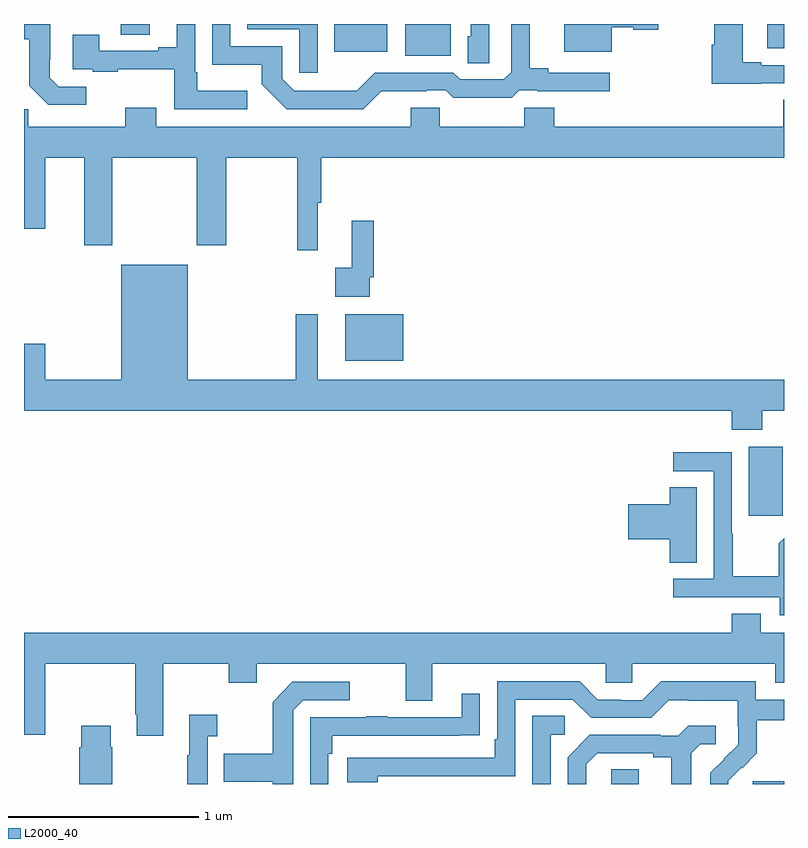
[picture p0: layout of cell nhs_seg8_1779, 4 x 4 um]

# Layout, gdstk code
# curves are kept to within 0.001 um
import gdstk
lib = gdstk.Library(unit=1e-6, precision=1e-09)
def R(c, l, rs):  # rectangles x0, y0, x1, y1
    for r in rs: c.add(gdstk.rectangle(r[:2], r[2:], *l))
def P(c, l, *ps):  # polygons
    for p in ps: c.add(gdstk.Polygon(p, *l))
L2000_40 = (2000, 40)

nhs_seg8_1779 = lib.new_cell('nhs_seg8_1779')
R(nhs_seg8_1779, L2000_40, [(228.09,1083.9,228.235,1083.977), (228.836,1083.9,229,1083.915), (228.815,1085.313,228.994,1085.674), (226.691,1086.128,226.996,1086.373), (227.006,1087.733,227.245,1087.9), (226.634,1087.754,226.912,1087.9), (225.509,1087.843,225.661,1087.9)])
P(nhs_seg8_1779, L2000_40, [(228.88,1087.587),(229,1087.587),(229,1087.683),(228.88,1087.683),(228.88,1087.699),(228.784,1087.699),(228.784,1087.9),(228.632,1087.9),(228.632,1087.79),(228.62,1087.79),(228.62,1087.585),(228.88,1087.585)],
  [(228.094,1087.883),(228.207,1087.883),(228.207,1087.871),(228.337,1087.871),(228.337,1087.9),(227.843,1087.9),(227.843,1087.754),(228.094,1087.754)],
  [(226.545,1087.9),(226.176,1087.9),(226.176,1087.872),(226.449,1087.872),(226.449,1087.644),(226.545,1087.644)],
  [(227.448,1087.9),(227.352,1087.9),(227.352,1087.836),(227.336,1087.836),(227.336,1087.693),(227.448,1087.693)],
  [(226.174,1087.549),(225.913,1087.549),(225.913,1087.645),(225.9,1087.645),(225.9,1087.9),(225.803,1087.9),(225.803,1087.777),(225.707,1087.777),(225.707,1087.758),(225.397,1087.758),(225.397,1087.843),(225.257,1087.843),(225.257,1087.662),(225.361,1087.662),(225.361,1087.65),(225.493,1087.65),(225.493,1087.661),(225.792,1087.661),(225.792,1087.452),(226.174,1087.452)],
  [(229,1087.9),(228.912,1087.9),(228.912,1087.876),(228.913,1087.876),(228.913,1087.773),(229,1087.773)],
  [(225.328,1087.569),(225.183,1087.569),(225.136,1087.616),(225.136,1087.711),(225.138,1087.711),(225.138,1087.9),(225,1087.9),(225,1087.821),(225.027,1087.821),(225.027,1087.575),(225.127,1087.475),(225.328,1087.475)],
  [(226.88,1087.547),(227.12,1087.547),(227.12,1087.551),(227.22,1087.551),(227.26,1087.512),(227.567,1087.512),(227.607,1087.551),(227.701,1087.551),(227.701,1087.547),(228.082,1087.547),(228.082,1087.644),(227.758,1087.644),(227.758,1087.667),(227.663,1087.667),(227.663,1087.9),(227.565,1087.9),(227.565,1087.647),(227.526,1087.608),(227.295,1087.608),(227.259,1087.644),(226.845,1087.644),(226.751,1087.55),(226.646,1087.55),(226.646,1087.548),(226.422,1087.548),(226.359,1087.611),(226.359,1087.782),(226.086,1087.782),(226.086,1087.9),(225.99,1087.9),(225.99,1087.685),(226.252,1087.685),(226.252,1087.583),(226.382,1087.452),(226.785,1087.452)],
  [(226.547,1086.96),(226.565,1086.96),(226.565,1087.196),(229,1087.196),(229,1087.502),(228.995,1087.502),(228.995,1087.36),(227.792,1087.36),(227.792,1087.458),(227.632,1087.458),(227.632,1087.36),(227.187,1087.36),(227.187,1087.458),(227.036,1087.458),(227.036,1087.36),(225.697,1087.36),(225.697,1087.459),(225.533,1087.459),(225.533,1087.36),(225.023,1087.36),(225.023,1087.451),(225,1087.451),(225,1086.822),(225.112,1086.822),(225.112,1087.196),(225.317,1087.196),(225.317,1086.735),(225.465,1086.735),(225.465,1087.196),(225.91,1087.196),(225.91,1086.735),(226.065,1086.735),(226.065,1087.196),(226.437,1087.196),(226.437,1086.708),(226.547,1086.708)],
  [(226.821,1086.568),(226.841,1086.568),(226.841,1086.865),(226.724,1086.865),(226.724,1086.617),(226.638,1086.617),(226.638,1086.464),(226.821,1086.464)],
  [(228.885,1085.864),(229,1085.864),(229,1086.028),(226.546,1086.028),(226.546,1086.373),(226.429,1086.373),(226.429,1086.028),(225.862,1086.028),(225.862,1086.634),(225.512,1086.634),(225.512,1086.028),(225.112,1086.028),(225.112,1086.217),(225,1086.217),(225,1085.864),(228.725,1085.864),(228.725,1085.765),(228.885,1085.765)],
  [(229,1085.194),(228.973,1085.167),(228.973,1084.993),(228.729,1084.993),(228.729,1085.216),(228.726,1085.216),(228.726,1085.646),(228.417,1085.646),(228.417,1085.547),(228.63,1085.547),(228.63,1084.98),(228.417,1084.98),(228.417,1084.884),(228.978,1084.884),(228.978,1084.787),(229,1084.787)],
  [(228.541,1085.462),(228.398,1085.462),(228.398,1085.372),(228.18,1085.372),(228.18,1085.189),(228.398,1085.189),(228.398,1085.065),(228.541,1085.065)],
  [(225.733,1084.532),(226.078,1084.532),(226.078,1084.433),(226.225,1084.433),(226.225,1084.532),(227.009,1084.532),(227.009,1084.338),(227.149,1084.338),(227.149,1084.532),(228.063,1084.532),(228.063,1084.434),(228.201,1084.434),(228.201,1084.532),(228.953,1084.532),(228.953,1084.433),(229,1084.433),(229,1084.696),(228.877,1084.696),(228.877,1084.795),(228.725,1084.795),(228.725,1084.696),(225,1084.696),(225,1084.158),(225.112,1084.158),(225.112,1084.532),(225.586,1084.532),(225.586,1084.267),(225.593,1084.267),(225.593,1084.155),(225.733,1084.155)],
  [(228.707,1083.917),(228.777,1083.987),(228.78,1083.984),(228.857,1084.061),(228.857,1084.236),(229,1084.236),(229,1084.344),(228.852,1084.344),(228.852,1084.441),(228.355,1084.441),(228.255,1084.341),(228.14,1084.341),(228.14,1084.344),(228.021,1084.344),(227.925,1084.44),(227.49,1084.44),(227.49,1084.135),(227.477,1084.135),(227.477,1084.038),(226.701,1084.038),(226.701,1083.908),(226.862,1083.908),(226.862,1083.942),(227.586,1083.942),(227.586,1084.344),(227.889,1084.344),(227.985,1084.248),(228.3,1084.248),(228.393,1084.341),(228.493,1084.341),(228.493,1084.337),(228.756,1084.337),(228.756,1084.203),(228.758,1084.203),(228.758,1084.106),(228.612,1083.958),(228.612,1083.9),(228.707,1083.9)],
  [(226.416,1084.287),(226.47,1084.341),(226.714,1084.341),(226.714,1084.437),(226.413,1084.437),(226.308,1084.331),(226.308,1084.059),(226.051,1084.059),(226.051,1083.911),(226.308,1083.911),(226.308,1083.9),(226.416,1083.9)],
  [(226.602,1084.058),(226.622,1084.058),(226.622,1084.155),(227.297,1084.155),(227.297,1084.156),(227.399,1084.156),(227.399,1084.375),(227.303,1084.375),(227.303,1084.251),(226.913,1084.251),(226.913,1084.256),(226.801,1084.256),(226.801,1084.251),(226.506,1084.251),(226.506,1083.9),(226.602,1083.9)],
  [(225.966,1084.151),(226.018,1084.151),(226.018,1084.264),(225.869,1084.264),(225.869,1084.051),(225.858,1084.051),(225.858,1083.9),(225.966,1083.9)],
  [(227.772,1084.158),(227.845,1084.158),(227.845,1084.259),(227.676,1084.259),(227.676,1083.9),(227.772,1083.9)],
  [(225.465,1084.094),(225.457,1084.094),(225.457,1084.207),(225.302,1084.207),(225.302,1084.094),(225.29,1084.094),(225.29,1083.9),(225.465,1083.9)],
  [(227.959,1084.005),(228.016,1084.062),(228.311,1084.062),(228.311,1084.04),(228.407,1084.04),(228.407,1083.9),(228.511,1083.9),(228.511,1084.063),(228.558,1084.11),(228.64,1084.11),(228.64,1084.207),(228.496,1084.207),(228.444,1084.155),(228.35,1084.155),(228.35,1084.158),(227.978,1084.158),(227.862,1084.042),(227.862,1083.9),(227.959,1083.9)])

lib.write_gds('nhs_seg8_1779.gds')
